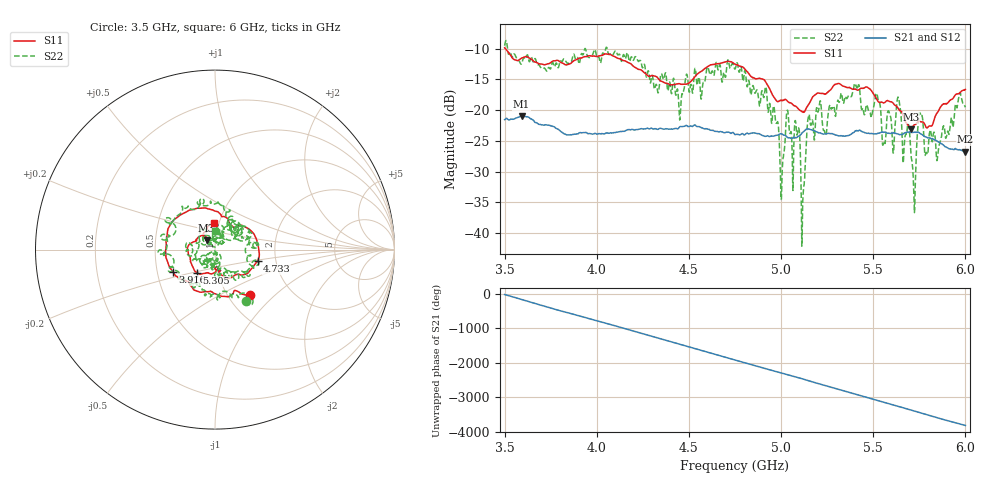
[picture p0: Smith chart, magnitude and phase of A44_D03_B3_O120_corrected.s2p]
! Created with skrf 1.9.0 (http://scikit-rf.org).
# Hz S RI R 50.0
!freq ReS11 ImS11 ReS21 ImS21 ReS12 ImS12 ReS22 ImS22
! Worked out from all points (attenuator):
!   1601 points, 3.5 GHz to 6 GHz, reference 50 ohm
!   highest |S21| = -21.00 dB at 3.592 GHz (marker M1); lowest = -26.7 dB at 5.998 GHz (marker M2)
!   lowest |S11| = -23.1 dB at 5.705 GHz (marker M3), VSWR 1.15, Z = 45.3 + j4.72 ohm
!   |S11| at or under -10 dB: 3.504 GHz to end of sweep
!   |S22| runs from -42.2 to -8.7 dB; largest |S21 - S12| = 0.001
!   S11 on the Smith chart (normalised r, x): 3.5 GHz: 1.25, -0.71; 3.916 GHz: 0.60, -0.16; 4.733 GHz: 1.60, -0.22; 5.305 GHz: 0.79, -0.21; 6 GHz: 0.94, +0.28
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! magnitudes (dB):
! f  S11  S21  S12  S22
! 3.5 GHz  -9.9  -21.6  -21.6  -9.5
! 3.592 GHz  -11.5  -21.0  -21.0  -12.5
! 3.916 GHz  -11.5  -23.7  -23.7  -10.9
! 3.917 GHz  -11.5  -23.7  -23.7  -10.8
! 4.334 GHz  -14.9  -23.1  -23.1  -17.1
! 4.733 GHz  -12.2  -23.7  -23.7  -12.5
! 4.75 GHz  -12.5  -24.0  -23.9  -13.3
! 4.912 GHz  -15.2  -24.3  -24.2  -16.7
! 5.005 GHz  -18.4  -23.9  -23.9  -31.1
! 5.033 GHz  -18.5  -24.4  -24.4  -20.0
! 5.088 GHz  -19.6  -24.4  -24.4  -24.0
! 5.119 GHz  -20.3  -23.6  -23.5  -34.0
! 5.145 GHz  -19.3  -23.1  -23.0  -21.6
! 5.167 GHz  -18.1  -23.2  -23.2  -21.8
! 5.305 GHz  -15.7  -24.1  -24.1  -18.8
! 5.584 GHz  -18.6  -23.8  -23.8  -20.1
! 5.705 GHz  -23.1  -23.7  -23.6  -27.1
! 5.72 GHz  -22.5  -23.6  -23.6  -33.4
! 5.755 GHz  -21.9  -23.8  -23.8  -20.5
! 5.852 GHz  -20.3  -25.2  -25.1  -27.0
! 5.998 GHz  -16.7  -26.7  -26.7  -19.4
! 6 GHz  -16.6  -26.7  -26.7  -19.5
